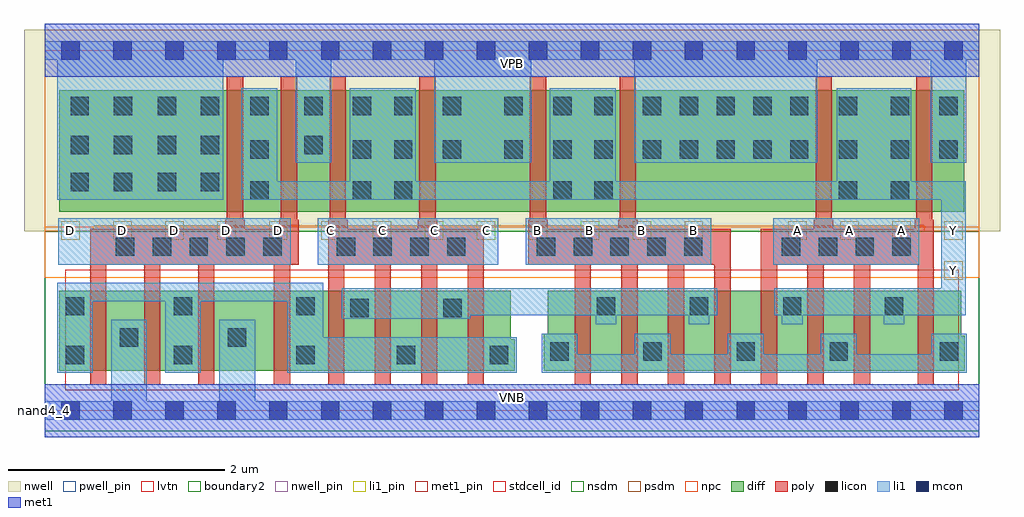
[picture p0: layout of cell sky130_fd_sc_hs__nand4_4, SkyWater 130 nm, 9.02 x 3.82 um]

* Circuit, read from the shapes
.subckt sky130_fd_sc_hs__nand4_4 A B C D VGND VNB VPB VPWR Y
XM1 VGND D n1 VNB sky130_fd_pr__nfet_01v8_lvt w=0.74 l=0.15 m=4
XM2 n2 C n1 VNB sky130_fd_pr__nfet_01v8_lvt w=0.74 l=0.15 m=4
XM3 n2 B n3 VNB sky130_fd_pr__nfet_01v8_lvt w=0.74 l=0.15 m=4
XM4 Y A n3 VNB sky130_fd_pr__nfet_01v8_lvt w=0.74 l=0.15 m=4
XM5 Y D VPWR VPB sky130_fd_pr__pfet_01v8 w=1.12 l=0.15 m=2
XM6 Y C VPWR VPB sky130_fd_pr__pfet_01v8 w=1.12 l=0.15 m=2
XM7 Y B VPWR VPB sky130_fd_pr__pfet_01v8 w=1.12 l=0.15 m=2
XM8 Y A VPWR VPB sky130_fd_pr__pfet_01v8 w=1.12 l=0.15 m=2
.ends

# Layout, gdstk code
import gdstk
lib = gdstk.Library(unit=1e-6, precision=1e-09)
def R(c, l, rs):  # rectangles x0, y0, x1, y1
    for r in rs: c.add(gdstk.rectangle(r[:2], r[2:], *l))
def A(c, l, x, y, w, h, nx, ny, dx, dy):  # array of equal rectangles
    R(c, l, [(x+i*dx, y+j*dy, x+i*dx+w, y+j*dy+h) for i in range(nx) for j in range(ny)])
def P(c, l, *ps):  # polygons
    for p in ps: c.add(gdstk.Polygon(p, *l))
nwell_pin = (64, 16)
nwell = (64, 20)
diff = (65, 20)
poly = (66, 20)
licon = (66, 44)
li1_pin = (67, 16)
li1 = (67, 20)
mcon = (67, 44)
met1_pin = (68, 16)
met1 = (68, 20)
stdcell_id = (81, 4)
nsdm = (93, 44)
psdm = (94, 20)
npc = (95, 20)
pwell_pin = (122, 16)
lvtn = (125, 44)
boundary2 = (236, 0)

sky130_fd_sc_hs__nand4_4 = lib.new_cell('sky130_fd_sc_hs__nand4_4')
R(sky130_fd_sc_hs__nand4_4, nwell_pin, [(0,3.085,8.64,3.33)])
R(sky130_fd_sc_hs__nand4_4, nwell, [(-0.19,1.66,8.83,3.52)])
R(sky130_fd_sc_hs__nand4_4, diff, [(0.135,1.84,8.5,2.96)])
P(sky130_fd_sc_hs__nand4_4, diff, [(4.345,0.66),(4.31,0.66),(4.31,1.11),(0.135,1.11),(0.135,0.37),(4.345,0.37)],
  [(8.505,0.69),(8.47,0.69),(8.47,1.11),(4.65,1.11),(4.65,0.71),(4.615,0.71),(4.615,0.37),(8.505,0.37)])
P(sky130_fd_sc_hs__nand4_4, poly, [(8.22,1.765),(8.205,1.765),(8.205,3.09),(8.055,3.09),(8.055,1.765),(8.04,1.765),(8.04,1.68),(7.29,1.68),(7.29,1.765),(7.275,1.765),(7.275,3.09),(7.125,3.09),(7.125,1.765),(7.11,1.765),(7.11,1.68),(6.62,1.68),(6.62,0.24),(6.77,0.24),(6.77,1.35),(7.05,1.35),(7.05,0.24),(7.2,0.24),(7.2,1.35),(7.48,1.35),(7.48,0.24),(7.63,0.24),(7.63,1.35),(8.07,1.35),(8.07,0.24),(8.22,0.24)],
  [(6.34,1.68),(5.48,1.68),(5.48,1.765),(5.465,1.765),(5.465,3.09),(5.315,3.09),(5.315,1.765),(5.3,1.765),(5.3,1.68),(4.65,1.68),(4.65,1.765),(4.635,1.765),(4.635,3.09),(4.485,3.09),(4.485,1.765),(4.47,1.765),(4.47,1.35),(4.9,1.35),(4.9,0.24),(5.05,0.24),(5.05,1.35),(5.33,1.35),(5.33,0.24),(5.48,0.24),(5.48,1.35),(5.76,1.35),(5.76,0.24),(5.91,0.24),(5.91,1.35),(6.19,1.35),(6.19,0.24),(6.34,0.24)],
  [(4.06,1.68),(3.63,1.68),(3.63,1.765),(3.615,1.765),(3.615,3.09),(3.465,3.09),(3.465,1.765),(3.45,1.765),(3.45,1.68),(2.8,1.68),(2.8,1.765),(2.785,1.765),(2.785,3.09),(2.635,3.09),(2.635,1.765),(2.62,1.765),(2.62,0.24),(2.77,0.24),(2.77,1.35),(3.05,1.35),(3.05,0.24),(3.2,0.24),(3.2,1.35),(3.48,1.35),(3.48,0.24),(3.63,0.24),(3.63,1.35),(3.91,1.35),(3.91,0.24),(4.06,0.24)],
  [(2.35,1.765),(2.335,1.765),(2.335,3.09),(2.185,3.09),(2.185,1.765),(2.17,1.765),(2.17,1.68),(1.85,1.68),(1.85,1.765),(1.835,1.765),(1.835,3.09),(1.685,3.09),(1.685,1.765),(1.67,1.765),(1.67,1.68),(0.42,1.68),(0.42,0.24),(0.57,0.24),(0.57,1.35),(0.92,1.35),(0.92,0.24),(1.07,0.24),(1.07,1.35),(1.42,1.35),(1.42,0.24),(1.57,0.24),(1.57,1.35),(2.12,1.35),(2.12,0.24),(2.27,0.24),(2.27,1.35),(2.35,1.35)])
A(sky130_fd_sc_hs__nand4_4, licon, 4.675, 0.46, 0.17, 0.17, 4, 1, 0.86, 0)
A(sky130_fd_sc_hs__nand4_4, licon, 5.105, 0.88, 0.17, 0.17, 3, 1, 0.86, 0)
A(sky130_fd_sc_hs__nand4_4, licon, 0.66, 1.43, 0.17, 0.17, 5, 1, 0.34, 0)
A(sky130_fd_sc_hs__nand4_4, licon, 2.7, 1.43, 0.17, 0.17, 4, 1, 0.34, 0)
A(sky130_fd_sc_hs__nand4_4, licon, 4.55, 1.43, 0.17, 0.17, 5, 1, 0.34, 0)
A(sky130_fd_sc_hs__nand4_4, licon, 6.815, 1.43, 0.17, 0.17, 4, 1, 0.34, 0)
A(sky130_fd_sc_hs__nand4_4, licon, 5.53, 2.33, 0.17, 0.17, 5, 2, 0.34, 0.4)
R(sky130_fd_sc_hs__nand4_4, licon, [(0.195,0.43,0.365,0.6), (1.195,0.43,1.365,0.6), (2.325,0.43,2.495,0.6), (3.255,0.43,3.425,0.6), (4.115,0.43,4.285,0.6), (8.275,0.46,8.445,0.63), (0.695,0.59,0.865,0.76), (1.695,0.59,1.865,0.76), (2.825,0.865,2.995,1.035), (3.685,0.865,3.855,1.035), (0.195,0.88,0.365,1.05), (1.195,0.88,1.365,1.05), (2.325,0.88,2.495,1.05), (7.765,0.88,7.935,1.05), (1.9,1.95,2.07,2.12), (2.85,1.95,3.02,2.12), (3.23,1.95,3.4,2.12), (4.7,1.95,4.87,2.12), (5.08,1.95,5.25,2.12), (7.34,1.95,7.51,2.12), (7.82,1.95,7.99,2.12), (0.24,2.03,0.41,2.2), (0.64,2.03,0.81,2.2), (1.045,2.03,1.215,2.2), (1.445,2.03,1.615,2.2), (1.9,2.33,2.07,2.5), (2.85,2.33,3.02,2.5), (3.23,2.33,3.4,2.5), (3.68,2.33,3.85,2.5), (4.25,2.33,4.42,2.5), (4.7,2.33,4.87,2.5), (5.08,2.33,5.25,2.5), (7.34,2.33,7.51,2.5), (7.82,2.33,7.99,2.5), (8.27,2.33,8.44,2.5), (0.24,2.37,0.41,2.54), (0.64,2.37,0.81,2.54), (1.045,2.37,1.215,2.54), (1.445,2.37,1.615,2.54), (2.4,2.37,2.57,2.54), (0.24,2.73,0.41,2.9), (0.64,2.73,0.81,2.9), (1.045,2.73,1.215,2.9), (1.445,2.73,1.615,2.9), (1.9,2.73,2.07,2.9), (2.4,2.73,2.57,2.9), (2.85,2.73,3.02,2.9), (3.23,2.73,3.4,2.9), (3.68,2.73,3.85,2.9), (4.25,2.73,4.42,2.9), (4.7,2.73,4.87,2.9), (5.08,2.73,5.25,2.9), (7.34,2.73,7.51,2.9), (7.82,2.73,7.99,2.9), (8.27,2.73,8.44,2.9)])
A(sky130_fd_sc_hs__nand4_4, li1_pin, 0.155, 1.58, 0.17, 0.17, 13, 1, 0.48, 0)
A(sky130_fd_sc_hs__nand4_4, li1_pin, 6.875, 1.58, 0.17, 0.17, 4, 1, 0.48, 0)
R(sky130_fd_sc_hs__nand4_4, li1_pin, [(8.315,1.21,8.485,1.38)])
R(sky130_fd_sc_hs__nand4_4, li1, [(0.125,1.35,2.275,1.78), (2.525,1.35,4.195,1.78), (4.445,1.35,6.16,1.78), (6.735,1.35,8.085,1.78)])
P(sky130_fd_sc_hs__nand4_4, li1, [(8.64,3.415),(0,3.415),(0,3.245),(0.115,3.245),(0.115,1.95),(1.65,1.95),(1.65,3.245),(2.32,3.245),(2.32,2.29),(2.65,2.29),(2.65,3.245),(3.6,3.245),(3.6,2.29),(4.5,2.29),(4.5,3.245),(5.45,3.245),(5.45,2.29),(7.14,2.29),(7.14,3.245),(8.19,3.245),(8.19,2.29),(8.52,2.29),(8.52,3.245),(8.64,3.245)],
  [(4.365,0.68),(2.575,0.68),(2.575,1.18),(0.115,1.18),(0.115,0.35),(0.445,0.35),(0.445,1.01),(1.115,1.01),(1.115,0.35),(1.445,0.35),(1.445,1.01),(2.245,1.01),(2.245,0.35),(4.365,0.35)],
  [(8.64,0.085),(1.945,0.085),(1.945,0.84),(1.615,0.84),(1.615,0.085),(0.945,0.085),(0.945,0.84),(0.615,0.84),(0.615,0.085),(0,0.085),(0,-0.085),(8.64,-0.085)],
  [(6.215,1.13),(2.745,1.13),(2.745,0.85),(3.935,0.85),(3.935,0.88),(5.095,0.88),(5.095,0.8),(5.285,0.8),(5.285,0.88),(5.955,0.88),(5.955,0.8),(6.145,0.8),(6.145,0.88),(6.215,0.88)],
  [(8.515,2.12),(8.01,2.12),(8.01,2.98),(7.32,2.98),(7.32,2.12),(5.28,2.12),(5.28,2.98),(4.67,2.98),(4.67,2.12),(3.43,2.12),(3.43,2.98),(2.82,2.98),(2.82,2.12),(2.15,2.12),(2.15,2.98),(1.82,2.98),(1.82,1.95),(8.285,1.95),(8.285,1.13),(6.745,1.13),(6.745,0.88),(6.815,0.88),(6.815,0.8),(7.005,0.8),(7.005,0.88),(7.755,0.88),(7.755,0.8),(7.945,0.8),(7.945,0.88),(8.515,0.88)],
  [(8.525,0.71),(8.195,0.71),(8.195,0.52),(7.505,0.52),(7.505,0.71),(7.175,0.71),(7.175,0.52),(6.645,0.52),(6.645,0.71),(6.315,0.71),(6.315,0.52),(5.785,0.52),(5.785,0.71),(5.455,0.71),(5.455,0.52),(4.925,0.52),(4.925,0.71),(4.595,0.71),(4.595,0.35),(8.525,0.35)])
A(sky130_fd_sc_hs__nand4_4, mcon, 0.155, -0.085, 0.17, 0.17, 18, 2, 0.48, 3.33)
R(sky130_fd_sc_hs__nand4_4, met1_pin, [(0,0,8.64,0.245), (0,3.085,8.64,3.33)])
R(sky130_fd_sc_hs__nand4_4, met1, [(0,-0.245,8.64,0.245), (0,3.085,8.64,3.575)])
R(sky130_fd_sc_hs__nand4_4, stdcell_id, [(0,0,8.64,3.33)])
R(sky130_fd_sc_hs__nand4_4, nsdm, [(0,-0.19,8.64,1.66)])
P(sky130_fd_sc_hs__nand4_4, psdm, [(8.64,3.52),(0,3.52),(0,1.66),(0.45,1.66),(0.45,1.71),(8.13,1.71),(8.13,1.66),(8.64,1.66)])
R(sky130_fd_sc_hs__nand4_4, npc, [(0,1.23,8.64,1.7)])
R(sky130_fd_sc_hs__nand4_4, pwell_pin, [(0,0,8.64,0.245)])
R(sky130_fd_sc_hs__nand4_4, lvtn, [(0.19,0.19,8.45,1.3)])
R(sky130_fd_sc_hs__nand4_4, boundary2, [(0,0,8.64,3.33)])
sky130_fd_sc_hs__nand4_4.add(gdstk.Label('nand4_4', (0,0), layer=83, texttype=44))
sky130_fd_sc_hs__nand4_4.add(gdstk.Label('VNB', (4.32,0.123), layer=64, texttype=59))
sky130_fd_sc_hs__nand4_4.add(gdstk.Label('VPB', (4.32,3.208), layer=64, texttype=5))
sky130_fd_sc_hs__nand4_4.add(gdstk.Label('VPWR', (4.32,3.208), layer=68, texttype=5))
sky130_fd_sc_hs__nand4_4.add(gdstk.Label('VGND', (4.32,0.123), layer=68, texttype=5))
sky130_fd_sc_hs__nand4_4.add(gdstk.Label('C', (2.64,1.665), layer=67, texttype=5))
sky130_fd_sc_hs__nand4_4.add(gdstk.Label('C', (3.12,1.665), layer=67, texttype=5))
sky130_fd_sc_hs__nand4_4.add(gdstk.Label('C', (3.6,1.665), layer=67, texttype=5))
sky130_fd_sc_hs__nand4_4.add(gdstk.Label('C', (4.08,1.665), layer=67, texttype=5))
sky130_fd_sc_hs__nand4_4.add(gdstk.Label('D', (0.24,1.665), layer=67, texttype=5))
sky130_fd_sc_hs__nand4_4.add(gdstk.Label('D', (0.72,1.665), layer=67, texttype=5))
sky130_fd_sc_hs__nand4_4.add(gdstk.Label('D', (1.2,1.665), layer=67, texttype=5))
sky130_fd_sc_hs__nand4_4.add(gdstk.Label('D', (1.68,1.665), layer=67, texttype=5))
sky130_fd_sc_hs__nand4_4.add(gdstk.Label('D', (2.16,1.665), layer=67, texttype=5))
sky130_fd_sc_hs__nand4_4.add(gdstk.Label('A', (6.96,1.665), layer=67, texttype=5))
sky130_fd_sc_hs__nand4_4.add(gdstk.Label('A', (7.44,1.665), layer=67, texttype=5))
sky130_fd_sc_hs__nand4_4.add(gdstk.Label('A', (7.92,1.665), layer=67, texttype=5))
sky130_fd_sc_hs__nand4_4.add(gdstk.Label('Y', (8.4,1.295), layer=67, texttype=5))
sky130_fd_sc_hs__nand4_4.add(gdstk.Label('Y', (8.4,1.665), layer=67, texttype=5))
sky130_fd_sc_hs__nand4_4.add(gdstk.Label('B', (4.56,1.665), layer=67, texttype=5))
sky130_fd_sc_hs__nand4_4.add(gdstk.Label('B', (5.04,1.665), layer=67, texttype=5))
sky130_fd_sc_hs__nand4_4.add(gdstk.Label('B', (5.52,1.665), layer=67, texttype=5))
sky130_fd_sc_hs__nand4_4.add(gdstk.Label('B', (6,1.665), layer=67, texttype=5))

lib.write_gds('sky130_fd_sc_hs__nand4_4.gds')
